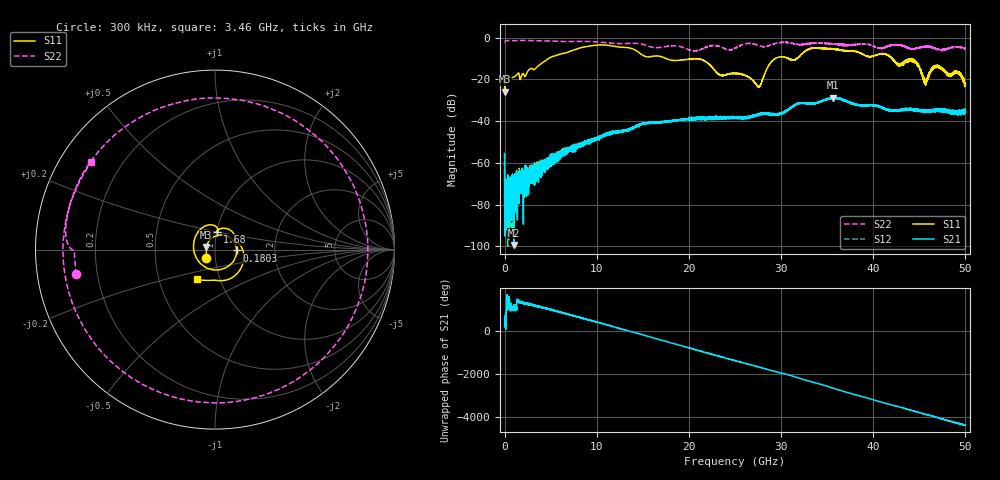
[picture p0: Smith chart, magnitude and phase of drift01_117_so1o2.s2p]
!Created with skrf (http://scikit-rf.org).
# Hz S RI R 50.0
!freq ReS11 ImS11 ReS21 ImS21 ReS12 ImS12 ReS22 ImS22
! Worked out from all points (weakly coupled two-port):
!   10001 points, 300 kHz to 50 GHz, reference 50 ohm
!   highest |S21| = -28.72 dB at 35.63 GHz (marker M1); lowest = -99.3 dB at 1.005 GHz (marker M2)
!   lowest |S11| = -25.8 dB at 5.3 MHz (marker M3), VSWR 1.11, Z = 45.3 + j1.4 ohm
!   |S11| at or under -10 dB: start of sweep to 4.771 GHz; 17.52 GHz to 29.37 GHz (11.85 GHz wide, 50.5 % of centre); 44.15 GHz to end of sweep (the widest 3 of 12)
!   |S22| runs from -6.4 to -1.4 dB; largest |S21 - S12| = 0.0052
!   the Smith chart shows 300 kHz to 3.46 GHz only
!   S11 on the Smith chart (normalised r, x): 300 kHz: 0.91, -0.08; 180.3 MHz: 1.27, -0.01; 1.68 GHz: 1.01, +0.20; 3.46 GHz: 0.78, -0.26
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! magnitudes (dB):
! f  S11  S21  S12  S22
! 300 kHz  -23.6  -55.6  -55.1  -2.1
! 5.3 MHz  -25.8  -73.4  -79.1  -2.1
! 180.3 MHz  -18.4  -77.3  -79.4  -1.4
! 255.3 MHz  -18.3  -75.1  -78.7  -1.4
! 1.005 GHz  -18.9  -99.3  -72.2  -1.5
! 1.68 GHz  -20.1  -71.2  -65.4  -1.4
! 3.46 GHz  -14.3  -62.0  -62.1  -1.5
! 8.335 GHz  -4.8  -50.5  -50.5  -1.8
! 16.67 GHz  -8.8  -40.6  -40.9  -4.8
! 21.22 GHz  -10.3  -38.5  -38.4  -5.7
! 25 GHz  -17.0  -38.5  -38.0  -5.1
! 27.59 GHz  -23.3  -37.0  -36.7  -3.8
! 29.3 GHz  -10.2  -37.2  -36.6  -2.9
! 31.47 GHz  -10.7  -32.3  -32.4  -2.9
! 33.34 GHz  -5.1  -31.5  -31.6  -2.6
! 35.63 GHz  -5.6  -28.7  -28.9  -3.0
! 41.67 GHz  -8.6  -34.7  -34.8  -4.1
! 42.74 GHz  -13.0  -34.9  -34.6  -3.3
! 44.51 GHz  -11.0  -34.8  -34.8  -5.4
! 45.63 GHz  -20.5  -34.8  -35.1  -4.2
! 46.96 GHz  -13.2  -34.2  -34.7  -5.6
! 50 GHz  -22.2  -34.9  -35.0  -5.3
